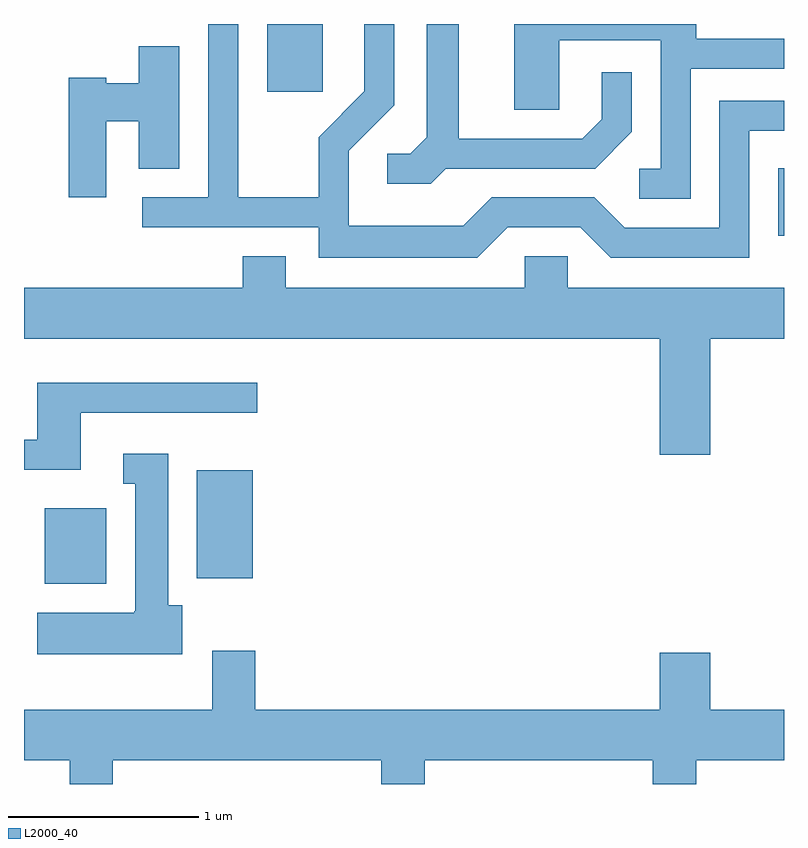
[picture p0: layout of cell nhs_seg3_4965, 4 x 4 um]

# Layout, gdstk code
import gdstk
lib = gdstk.Library(unit=1e-6, precision=1e-09)
def R(c, l, rs):  # rectangles x0, y0, x1, y1
    for r in rs: c.add(gdstk.rectangle(r[:2], r[2:], *l))
def P(c, l, *ps):  # polygons
    for p in ps: c.add(gdstk.Polygon(p, *l))
L2000_40 = (2000, 40)

nhs_seg3_4965 = lib.new_cell('nhs_seg3_4965')
R(nhs_seg3_4965, L2000_40, [(331.721,1126.946,332.044,1127.344), (332.521,1126.976,332.814,1127.544), (335.581,1128.778,335.611,1129.134), (332.891,1129.536,333.184,1129.892)])
P(nhs_seg3_4965, L2000_40, [(334.157,1128.821),(334.539,1128.821),(334.699,1128.661),(335.429,1128.661),(335.429,1129.331),(335.611,1129.331),(335.611,1129.489),(335.271,1129.489),(335.271,1128.819),(334.772,1128.819),(334.612,1128.979),(334.074,1128.979),(333.924,1128.829),(333.319,1128.829),(333.319,1129.224),(333.559,1129.464),(333.559,1129.892),(333.401,1129.892),(333.401,1129.537),(333.161,1129.297),(333.161,1128.979),(332.739,1128.979),(332.739,1129.892),(332.581,1129.892),(332.581,1128.979),(332.233,1128.979),(332.233,1128.821),(333.161,1128.821),(333.161,1128.661),(333.997,1128.661)],
  [(333.832,1129.131),(334.617,1129.131),(334.809,1129.324),(334.809,1129.638),(334.651,1129.638),(334.651,1129.392),(334.549,1129.289),(333.899,1129.289),(333.899,1129.892),(333.731,1129.892),(333.731,1129.297),(333.644,1129.209),(333.523,1129.209),(333.523,1129.051),(333.752,1129.051)],
  [(335.119,1129.656),(335.611,1129.656),(335.611,1129.814),(335.149,1129.814),(335.149,1129.892),(334.191,1129.892),(334.191,1129.441),(334.429,1129.441),(334.429,1129.806),(334.961,1129.806),(334.961,1129.129),(334.848,1129.129),(334.848,1128.971),(335.119,1128.971)],
  [(332.044,1129.381),(332.216,1129.381),(332.216,1129.131),(332.429,1129.131),(332.429,1129.774),(332.216,1129.774),(332.216,1129.579),(332.044,1129.579),(332.044,1129.609),(331.846,1129.609),(331.846,1128.981),(332.044,1128.981)],
  [(335.224,1128.236),(335.611,1128.236),(335.611,1128.504),(334.474,1128.504),(334.474,1128.669),(334.246,1128.669),(334.246,1128.504),(332.989,1128.504),(332.989,1128.669),(332.761,1128.669),(332.761,1128.504),(331.611,1128.504),(331.611,1128.236),(334.956,1128.236),(334.956,1127.626),(335.224,1127.626)],
  [(331.909,1127.846),(332.838,1127.846),(332.838,1128.004),(331.681,1128.004),(331.681,1127.704),(331.611,1127.704),(331.611,1127.546),(331.909,1127.546)],
  [(332.444,1126.834),(332.369,1126.834),(332.369,1127.629),(332.133,1127.629),(332.133,1127.471),(332.196,1127.471),(332.196,1126.8),(332.19,1126.8),(332.19,1126.794),(331.681,1126.794),(331.681,1126.576),(332.444,1126.576)],
  [(332.079,1126.016),(333.491,1126.016),(333.491,1125.892),(333.719,1125.892),(333.719,1126.016),(334.921,1126.016),(334.921,1125.892),(335.149,1125.892),(335.149,1126.016),(335.611,1126.016),(335.611,1126.284),(335.224,1126.284),(335.224,1126.584),(334.956,1126.584),(334.956,1126.284),(332.829,1126.284),(332.829,1126.594),(332.601,1126.594),(332.601,1126.284),(331.611,1126.284),(331.611,1126.016),(331.851,1126.016),(331.851,1125.892),(332.079,1125.892)])

lib.write_gds('nhs_seg3_4965.gds')
